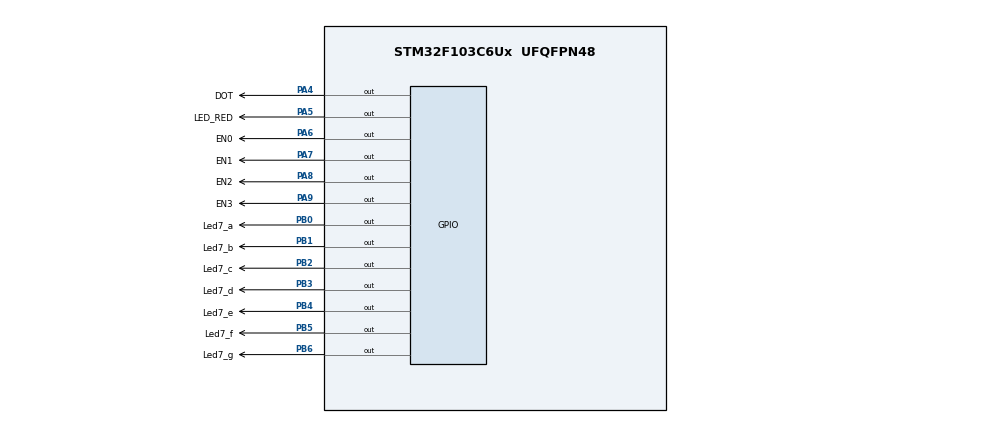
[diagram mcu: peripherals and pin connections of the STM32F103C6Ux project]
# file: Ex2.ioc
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Mcu.Family=STM32F1
Mcu.Name=STM32F103C6Ux
Mcu.Package=UFQFPN48
NVIC.PriorityGroup=NVIC_PRIORITYGROUP_4
NVIC.TIM2_IRQn=true\:0\:0\:false\:false\:true\:true\:true
PA4.GPIO_Label=DOT
PA4.Signal=GPIO_Output
PA5.GPIO_Label=LED_RED
PA5.Signal=GPIO_Output
PA6.GPIO_Label=EN0
PA6.Signal=GPIO_Output
PA7.GPIO_Label=EN1
PA7.Signal=GPIO_Output
PA8.GPIO_Label=EN2
PA8.Signal=GPIO_Output
PA9.GPIO_Label=EN3
PA9.Signal=GPIO_Output
PB0.GPIO_Label=Led7_a
PB0.Signal=GPIO_Output
PB1.GPIO_Label=Led7_b
PB1.Signal=GPIO_Output
PB2.GPIO_Label=Led7_c
PB2.Signal=GPIO_Output
PB3.GPIO_Label=Led7_d
PB3.Signal=GPIO_Output
PB4.GPIO_Label=Led7_e
PB4.Signal=GPIO_Output
PB5.GPIO_Label=Led7_f
PB5.Signal=GPIO_Output
PB6.GPIO_Label=Led7_g
PB6.Signal=GPIO_Output
ProjectManager.HeapSize=0x200
ProjectManager.StackSize=0x400
ProjectManager.TargetToolchain=STM32CubeIDE
RCC.APB1Freq_Value=8000000
RCC.APB2Freq_Value=8000000
TIM2.Period=9
TIM2.Prescaler=7999
VP_SYS_VS_ND.Mode=No_Debug
VP_TIM2_VS_ClockSourceINT.Mode=Internal
board=custom

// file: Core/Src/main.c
/* USER CODE BEGIN Header */
/**
 ******************************************************************************
 * @file           : main.c
 * @brief          : Main program body
 ******************************************************************************
 * @attention
 *
 * <h2><center>&copy; Copyright (c) 2021 STMicroelectronics.
 * All rights reserved.</center></h2>
 *
 * This software component is licensed by ST under BSD 3-Clause license,
 * the "License"; You may not use this file except in compliance with the
 * License. You may obtain a copy of the License at:
 *                        opensource.org/licenses/BSD-3-Clause
 *
 ******************************************************************************
 */
/* USER CODE END Header */
#include "main.h"

TIM_HandleTypeDef htim2;

/* USER CODE BEGIN PV */
static GPIO_TypeDef *const LED7_PORT[7] = {
Led7_a_GPIO_Port, Led7_b_GPIO_Port, Led7_c_GPIO_Port, Led7_d_GPIO_Port,
Led7_e_GPIO_Port, Led7_f_GPIO_Port, Led7_g_GPIO_Port };

static const uint16_t LED7_PINS[7] = {
Led7_a_Pin, Led7_b_Pin, Led7_c_Pin, Led7_d_Pin, Led7_e_Pin, Led7_f_Pin,
Led7_g_Pin };

static const uint8_t LED7_MAP[10] = { 0b00111111, // 0
		0b00000110, // 1
		0b01011011, // 2
		0b01001111, // 3
		0b01100110, // 4
		0b01101101, // 5
		0b01111101, // 6
		0b00000111, // 7
		0b01111111, // 8
		0b01101111,  // 9
		};
/* USER CODE END PV */

void SystemClock_Config(void);
static void MX_GPIO_Init(void);
static void MX_TIM2_Init(void);
/* USER CODE BEGIN PFP */
void HAL_TIM_PeriodElapsedCallback(TIM_HandleTypeDef*);
static void set_LED7_by_mask(uint8_t);
static void clear7SEG(void);
static void display7SEG(int);
static void initState(void);

/* USER CODE END PFP */

/* USER CODE BEGIN 0 */
static void set_LED7_by_mask(uint8_t mask) {
	for (int s = 0; s < 7; s++) {

		GPIO_TypeDef *port = (GPIO_TypeDef*) LED7_PORT[s];
		uint16_t pin = LED7_PINS[s];

		if ((mask >> s) & 1) {
			HAL_GPIO_WritePin(port, pin, GPIO_PIN_RESET); // Turn on segment
		} else {
			HAL_GPIO_WritePin(port, pin, GPIO_PIN_SET); // Turn off segment
		}
	}
}

void clear7SEG() {
	display7SEG(10);
}

void display7SEG(int number) {
	if (number > 9) {
		set_LED7_by_mask(0x00); // Tắt hết segment
	} else {
		uint8_t mask = LED7_MAP[number];
		set_LED7_by_mask(mask);
	}
}

void initState() {
	clear7SEG();
	HAL_GPIO_WritePin(EN0_GPIO_Port, EN0_Pin, GPIO_PIN_SET);
	HAL_GPIO_WritePin(EN1_GPIO_Port, EN1_Pin, GPIO_PIN_SET);
	HAL_GPIO_WritePin(EN2_GPIO_Port, EN2_Pin, GPIO_PIN_SET);
	HAL_GPIO_WritePin(EN3_GPIO_Port, EN3_Pin, GPIO_PIN_SET);
	HAL_GPIO_WritePin(DOT_GPIO_Port, DOT_Pin, GPIO_PIN_SET);
}

/* USER CODE END 0 */

int main(void)
{

  /* MCU Configuration--------------------------------------------------------*/

  /* Reset of all peripherals, Initializes the Flash interface and the Systick. */
  HAL_Init();

  /* Configure the system clock */
  SystemClock_Config();

  /* Initialize all configured peripherals */
  MX_GPIO_Init();
  MX_TIM2_Init();
  /* USER CODE BEGIN 2 */
	HAL_TIM_Base_Start_IT(&htim2);
	initState();
  /* USER CODE END 2 */

  /* Infinite loop */
	while (1) {

	}
}

void SystemClock_Config(void)
{
  RCC_OscInitTypeDef RCC_OscInitStruct = {0};
  RCC_ClkInitTypeDef RCC_ClkInitStruct = {0};

  /** Initializes the RCC Oscillators according to the specified parameters
  * in the RCC_OscInitTypeDef structure.
  */
  RCC_OscInitStruct.OscillatorType = RCC_OSCILLATORTYPE_HSI;
  RCC_OscInitStruct.HSIState = RCC_HSI_ON;
  RCC_OscInitStruct.HSICalibrationValue = RCC_HSICALIBRATION_DEFAULT;
  RCC_OscInitStruct.PLL.PLLState = RCC_PLL_NONE;
  if (HAL_RCC_OscConfig(&RCC_OscInitStruct) != HAL_OK)
  {
    Error_Handler();
  }
  /** Initializes the CPU, AHB and APB buses clocks
  */
  RCC_ClkInitStruct.ClockType = RCC_CLOCKTYPE_HCLK|RCC_CLOCKTYPE_SYSCLK
                              |RCC_CLOCKTYPE_PCLK1|RCC_CLOCKTYPE_PCLK2;
  RCC_ClkInitStruct.SYSCLKSource = RCC_SYSCLKSOURCE_HSI;
  RCC_ClkInitStruct.AHBCLKDivider = RCC_SYSCLK_DIV1;
  RCC_ClkInitStruct.APB1CLKDivider = RCC_HCLK_DIV1;
  RCC_ClkInitStruct.APB2CLKDivider = RCC_HCLK_DIV1;

  if (HAL_RCC_ClockConfig(&RCC_ClkInitStruct, FLASH_LATENCY_0) != HAL_OK)
  {
    Error_Handler();
  }
}

static void MX_TIM2_Init(void)
{

  TIM_ClockConfigTypeDef sClockSourceConfig = {0};
  TIM_MasterConfigTypeDef sMasterConfig = {0};

  htim2.Instance = TIM2;
  htim2.Init.Prescaler = 7999;
  htim2.Init.CounterMode = TIM_COUNTERMODE_UP;
  htim2.Init.Period = 9;
  htim2.Init.ClockDivision = TIM_CLOCKDIVISION_DIV1;
  htim2.Init.AutoReloadPreload = TIM_AUTORELOAD_PRELOAD_DISABLE;
  if (HAL_TIM_Base_Init(&htim2) != HAL_OK)
  {
    Error_Handler();
  }
  sClockSourceConfig.ClockSource = TIM_CLOCKSOURCE_INTERNAL;
  if (HAL_TIM_ConfigClockSource(&htim2, &sClockSourceConfig) != HAL_OK)
  {
    Error_Handler();
  }
  sMasterConfig.MasterOutputTrigger = TIM_TRGO_RESET;
  sMasterConfig.MasterSlaveMode = TIM_MASTERSLAVEMODE_DISABLE;
  if (HAL_TIMEx_MasterConfigSynchronization(&htim2, &sMasterConfig) != HAL_OK)
  {
    Error_Handler();
  }

}

static void MX_GPIO_Init(void)
{
  GPIO_InitTypeDef GPIO_InitStruct = {0};

  /* GPIO Ports Clock Enable */
  __HAL_RCC_GPIOA_CLK_ENABLE();
  __HAL_RCC_GPIOB_CLK_ENABLE();

  /*Configure GPIO pin Output Level */
  HAL_GPIO_WritePin(GPIOA, DOT_Pin|LED_RED_Pin|EN0_Pin|EN1_Pin
                          |EN2_Pin|EN3_Pin, GPIO_PIN_RESET);

  /*Configure GPIO pin Output Level */
  HAL_GPIO_WritePin(GPIOB, Led7_a_Pin|Led7_b_Pin|Led7_c_Pin|Led7_d_Pin
                          |Led7_e_Pin|Led7_f_Pin|Led7_g_Pin, GPIO_PIN_RESET);

  /*Configure GPIO pins : DOT_Pin LED_RED_Pin EN0_Pin EN1_Pin
                           EN2_Pin EN3_Pin */
  GPIO_InitStruct.Pin = DOT_Pin|LED_RED_Pin|EN0_Pin|EN1_Pin
                          |EN2_Pin|EN3_Pin;
  GPIO_InitStruct.Mode = GPIO_MODE_OUTPUT_PP;
  GPIO_InitStruct.Pull = GPIO_NOPULL;
  GPIO_InitStruct.Speed = GPIO_SPEED_FREQ_LOW;
  HAL_GPIO_Init(GPIOA, &GPIO_InitStruct);

  /*Configure GPIO pins : Led7_a_Pin Led7_b_Pin Led7_c_Pin Led7_d_Pin
                           Led7_e_Pin Led7_f_Pin Led7_g_Pin */
  GPIO_InitStruct.Pin = Led7_a_Pin|Led7_b_Pin|Led7_c_Pin|Led7_d_Pin
                          |Led7_e_Pin|Led7_f_Pin|Led7_g_Pin;
  GPIO_InitStruct.Mode = GPIO_MODE_OUTPUT_PP;
  GPIO_InitStruct.Pull = GPIO_NOPULL;
  GPIO_InitStruct.Speed = GPIO_SPEED_FREQ_LOW;
  HAL_GPIO_Init(GPIOB, &GPIO_InitStruct);

}

/* USER CODE BEGIN 4 */
typedef enum {
	NUM1, NUM2, NUM3, NUM4
} num;
typedef enum {
	DARK, BRIGHT
} colon;

typedef enum {
	TIME1 = 50,
	TIME2 = 50,
	TIME3 = 50,
	TIME4 = 50,
	TIME_COLON_BRIGHT = 70,
	TIME_COLON_DARK = 30

}time_num;

int counter = 100; // timer * counter = 10 * 100 = 1s
int time_LED = 100;
int time_colon = 100;
num cur_num = NUM1;
colon cur_colon = DARK;

void HAL_TIM_PeriodElapsedCallback(TIM_HandleTypeDef *htim) {
	// Testing
	HAL_GPIO_TogglePin(LED_RED_GPIO_Port, LED_RED_Pin);

	// Production
	if(counter <= 0)
	{
		int temp_counter = counter;
		counter = 100;
		time_colon += 100 - temp_counter;
		time_LED += 100 - temp_counter;
	}

	switch (cur_num) {
	case NUM1:
		display7SEG(1);
		HAL_GPIO_WritePin(EN0_GPIO_Port, EN0_Pin, GPIO_PIN_RESET);
		HAL_GPIO_WritePin(EN1_GPIO_Port, EN1_Pin, GPIO_PIN_SET);
		HAL_GPIO_WritePin(EN2_GPIO_Port, EN2_Pin, GPIO_PIN_SET);
		HAL_GPIO_WritePin(EN3_GPIO_Port, EN3_Pin, GPIO_PIN_SET);
		if(time_LED - counter >= TIME1)
		{
			cur_num = NUM2;
			time_LED = counter;
		}
		break;
	case NUM2:
		display7SEG(2);
		HAL_GPIO_WritePin(EN0_GPIO_Port, EN0_Pin, GPIO_PIN_SET);
		HAL_GPIO_WritePin(EN1_GPIO_Port, EN1_Pin, GPIO_PIN_RESET);
		HAL_GPIO_WritePin(EN2_GPIO_Port, EN2_Pin, GPIO_PIN_SET);
		HAL_GPIO_WritePin(EN3_GPIO_Port, EN3_Pin, GPIO_PIN_SET);
		if(time_LED - counter >= TIME2)
		{
			cur_num = NUM3;
			time_LED = counter;
		}
		break;
	case NUM3:
		display7SEG(3);
		HAL_GPIO_WritePin(EN0_GPIO_Port, EN0_Pin, GPIO_PIN_SET);
		HAL_GPIO_WritePin(EN1_GPIO_Port, EN1_Pin, GPIO_PIN_SET);
		HAL_GPIO_WritePin(EN2_GPIO_Port, EN2_Pin, GPIO_PIN_RESET);
		HAL_GPIO_WritePin(EN3_GPIO_Port, EN3_Pin, GPIO_PIN_SET);
		if(time_LED - counter >= TIME3)
		{
			cur_num = NUM4;
			time_LED = counter;
		}
		break;
	case NUM4:
		display7SEG(0);
		HAL_GPIO_WritePin(EN0_GPIO_Port, EN0_Pin, GPIO_PIN_SET);
		HAL_GPIO_WritePin(EN1_GPIO_Port, EN1_Pin, GPIO_PIN_SET);
		HAL_GPIO_WritePin(EN2_GPIO_Port, EN2_Pin, GPIO_PIN_SET);
		HAL_GPIO_WritePin(EN3_GPIO_Port, EN3_Pin, GPIO_PIN_RESET);
		if(time_LED - counter >= TIME4)
		{
			cur_num = NUM1;
			time_LED = counter;
		}
		break;
	default:
		break;
	}

	switch (cur_colon)
	{
	case DARK:
		HAL_GPIO_WritePin(DOT_GPIO_Port, DOT_Pin, GPIO_PIN_RESET);
		if(time_colon - counter >= TIME_COLON_BRIGHT)
		{
			cur_colon = BRIGHT;
			time_colon = counter;
		}
		break;
	case BRIGHT:
		HAL_GPIO_WritePin(DOT_GPIO_Port, DOT_Pin, GPIO_PIN_SET);
		if(time_colon - counter >= TIME_COLON_DARK)
		{
			cur_colon = DARK;
			time_colon = counter;
		}
		break;
	default:
		break;
	}
	counter --;
}
/* USER CODE END 4 */

void Error_Handler(void)
{
	__disable_irq();
	while (1) {
	}
}

/************************ (C) COPYRIGHT STMicroelectronics *****END OF FILE****/
